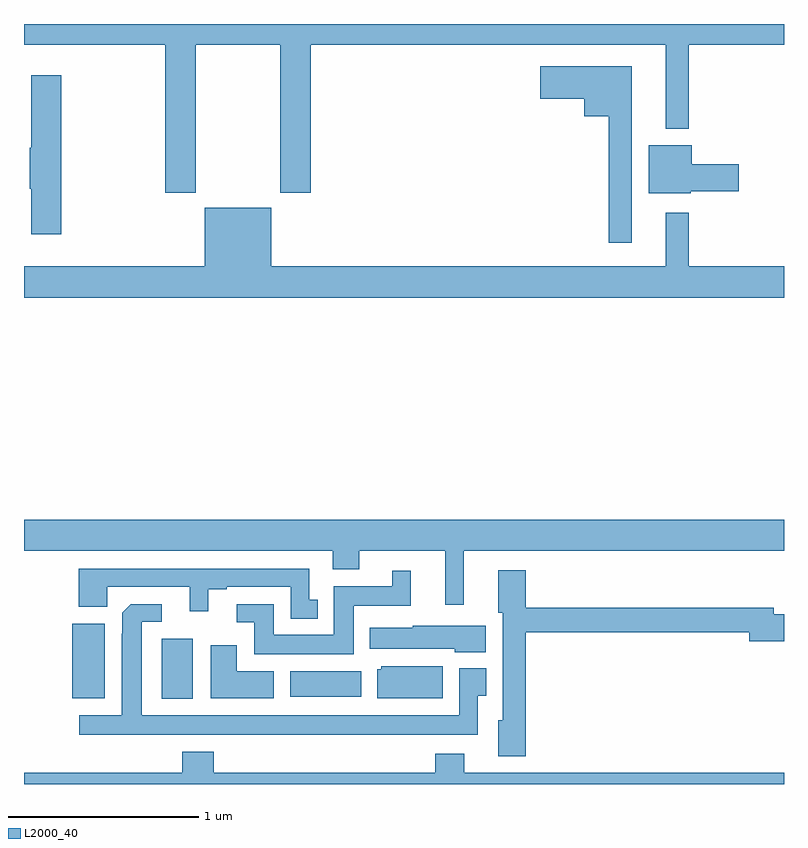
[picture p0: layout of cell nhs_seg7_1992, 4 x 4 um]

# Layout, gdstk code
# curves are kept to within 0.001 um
import gdstk
lib = gdstk.Library(unit=1e-6, precision=1e-09)
def R(c, l, rs):  # rectangles x0, y0, x1, y1
    for r in rs: c.add(gdstk.rectangle(r[:2], r[2:], *l))
def P(c, l, *ps):  # polygons
    for p in ps: c.add(gdstk.Polygon(p, *l))
L2000_40 = (2000, 40)

nhs_seg7_1992 = lib.new_cell('nhs_seg7_1992')
R(nhs_seg7_1992, L2000_40, [(243.725,1054.448,243.889,1054.765), (243.254,1054.451,243.424,1054.843), (244.4,1054.46,244.774,1054.594)])
P(nhs_seg7_1992, L2000_40, [(243.903,1057.892),(244.348,1057.892),(244.348,1057.113),(244.508,1057.113),(244.508,1057.892),(246.377,1057.892),(246.377,1057.448),(246.499,1057.448),(246.499,1057.892),(247,1057.892),(247,1058),(243,1058),(243,1057.892),(243.743,1057.892),(243.743,1057.113),(243.903,1057.113)],
  [(246.199,1057.777),(245.718,1057.777),(245.718,1057.607),(245.948,1057.607),(245.948,1057.514),(246.078,1057.514),(246.078,1056.849),(246.199,1056.849)],
  [(243.197,1057.729),(243.038,1057.729),(243.038,1057.349),(243.031,1057.349),(243.031,1057.132),(243.038,1057.132),(243.038,1056.894),(243.197,1056.894)],
  [(246.51,1057.12),(246.763,1057.12),(246.763,1057.262),(246.514,1057.262),(246.514,1057.363),(246.287,1057.363),(246.287,1057.109),(246.51,1057.109)],
  [(246.377,1057.006),(246.377,1056.724),(244.3,1056.724),(244.3,1057.033),(243.95,1057.033),(243.95,1056.724),(243,1056.724),(243,1056.56),(247,1056.56),(247,1056.724),(246.499,1056.724),(246.499,1057.006)],
  [(245.315,1055.228),(247,1055.228),(247,1055.392),(243,1055.392),(243,1055.228),(244.625,1055.228),(244.625,1055.129),(244.765,1055.129),(244.765,1055.228),(245.216,1055.228),(245.216,1054.944),(245.315,1054.944)],
  [(244.546,1054.971),(244.5,1054.971),(244.5,1055.133),(243.287,1055.133),(243.287,1054.934),(243.438,1054.934),(243.438,1055.037),(243.872,1055.037),(243.872,1054.908),(243.97,1054.908),(243.97,1055.025),(244.066,1055.025),(244.066,1055.037),(244.404,1055.037),(244.404,1054.871),(244.546,1054.871)],
  [(245.642,1054.798),(246.818,1054.798),(246.818,1054.751),(247,1054.751),(247,1054.893),(246.946,1054.893),(246.946,1054.927),(245.642,1054.927),(245.642,1055.125),(245.495,1055.125),(245.495,1054.902),(245.519,1054.902),(245.519,1054.335),(245.495,1054.335),(245.495,1054.145),(245.642,1054.145)],
  [(244.735,1054.937),(245.036,1054.937),(245.036,1055.122),(244.937,1055.122),(244.937,1055.041),(244.631,1055.041),(244.631,1054.786),(244.315,1054.786),(244.315,1054.947),(244.119,1054.947),(244.119,1054.851),(244.211,1054.851),(244.211,1054.682),(244.735,1054.682)],
  [(245.389,1054.465),(245.434,1054.465),(245.434,1054.609),(245.292,1054.609),(245.292,1054.363),(243.619,1054.363),(243.619,1054.854),(243.724,1054.854),(243.724,1054.947),(243.562,1054.947),(243.516,1054.901),(243.515,1054.363),(243.291,1054.363),(243.291,1054.259),(245.389,1054.259)],
  [(245.431,1054.834),(245.046,1054.834),(245.046,1054.822),(244.82,1054.822),(244.82,1054.712),(245.268,1054.712),(245.268,1054.694),(245.431,1054.694)],
  [(244.315,1054.594),(244.12,1054.594),(244.12,1054.729),(243.983,1054.729),(243.983,1054.451),(244.315,1054.451)],
  [(245.203,1054.621),(244.881,1054.621),(244.881,1054.605),(244.859,1054.605),(244.859,1054.451),(245.203,1054.451)],
  [(247,1054.06),(245.317,1054.06),(245.317,1054.159),(245.165,1054.159),(245.165,1054.06),(243.998,1054.06),(243.998,1054.171),(243.833,1054.171),(243.833,1054.06),(243,1054.06),(243,1054),(247,1054)])

lib.write_gds('nhs_seg7_1992.gds')
